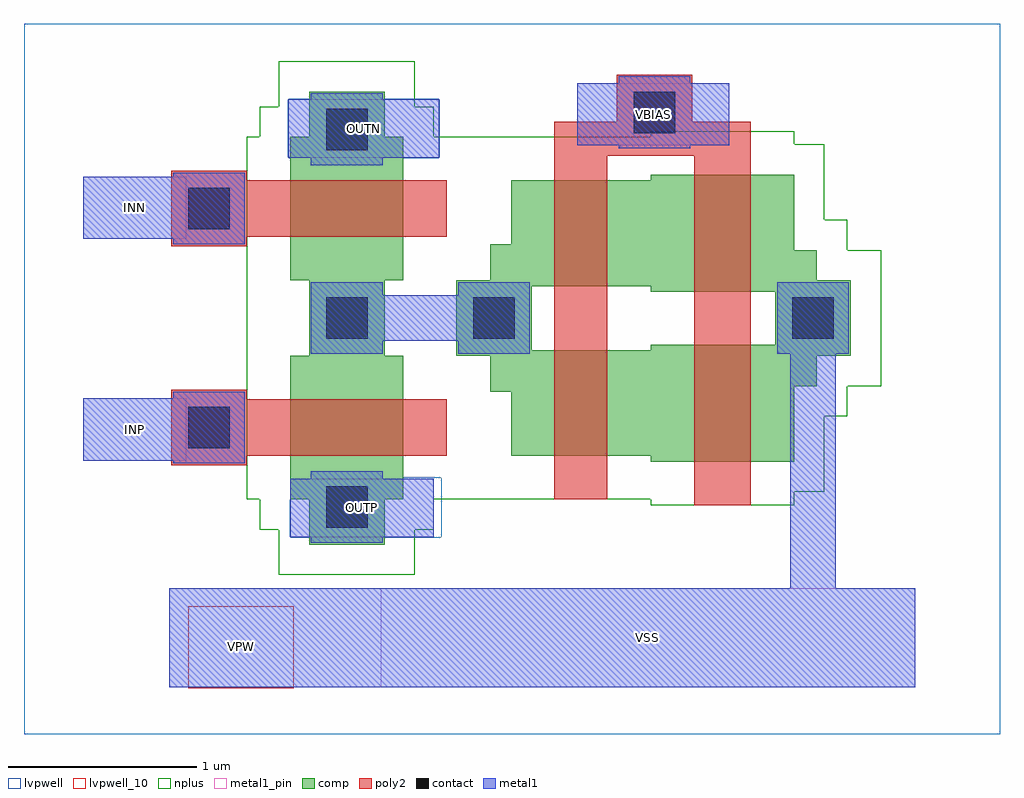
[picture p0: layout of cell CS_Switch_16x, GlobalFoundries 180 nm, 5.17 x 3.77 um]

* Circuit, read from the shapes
.subckt CS_Switch_16x INN INP OUTN OUTP VBIAS VSS
XM1 n1 INP OUTP VSUBS nfet_03v3 w=0.6u l=0.3u
XM2 OUTN INN n1 VSUBS nfet_03v3 w=0.6u l=0.3u
XM3 n2 VBIAS n1 VSUBS nfet_03v3 w=0.56u l=0.28u
XM4 n3 VBIAS n1 VSUBS nfet_03v3 w=0.56u l=0.28u
XM5 VSS VBIAS n2 VSUBS nfet_03v3 w=0.62u l=0.3u
XM6 VSS VBIAS n3 VSUBS nfet_03v3 w=0.62u l=0.3u
.ends

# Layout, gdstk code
import gdstk
lib = gdstk.Library(unit=1e-6, precision=1e-09)
def R(c, l, rs):  # rectangles x0, y0, x1, y1
    for r in rs: c.add(gdstk.rectangle(r[:2], r[2:], *l))
def A(c, l, x, y, w, h, nx, ny, dx, dy):  # array of equal rectangles
    R(c, l, [(x+i*dx, y+j*dy, x+i*dx+w, y+j*dy+h) for i in range(nx) for j in range(ny)])
comp = (22, 0)
poly2 = (30, 0)
nplus = (32, 0)
contact = (33, 0)
metal1 = (34, 0)
metal1_pin = (34, 10)
lvpwell = (204, 0)
lvpwell_10 = (204, 10)

cs_switch_16x = lib.new_cell('CS_Switch_16x')
R(cs_switch_16x, comp, [(6.62,-1.43,7.02,-1.19), (6.52,-1.19,7.12,-0.43), (8.43,-0.99,9.19,-0.96), (7.69,-0.96,9.19,-0.62), (7.58,-0.62,9.19,-0.59), (7.58,-0.59,9.31,-0.43), (6.62,-0.43,7.02,-0.03), (7.4,-0.43,9.49,-0.4), (7.4,-0.4,7.8,-0.06), (8.43,-0.4,9.49,-0.37), (9.09,-0.37,9.49,-0.09), (8.43,-0.09,9.49,-0.06), (7.4,-0.06,9.49,-0.03), (6.52,-0.03,7.12,0.73), (7.58,-0.03,9.31,0.13), (7.58,0.13,9.19,0.16), (7.69,0.16,9.19,0.5), (8.43,0.5,9.19,0.53), (6.62,0.73,7.02,0.97)])
R(cs_switch_16x, poly2, [(8.66,-1.22,8.96,0.63), (7.92,-1.19,8.2,0.63), (5.89,-1.01,6.29,-0.96), (5.89,-0.96,7.35,-0.66), (5.89,-0.66,6.29,-0.61), (5.89,0.15,6.29,0.2), (5.89,0.2,7.35,0.5), (5.89,0.5,6.29,0.55), (7.92,0.63,8.96,0.81), (8.25,0.81,8.65,1.06)])
R(cs_switch_16x, nplus, [(6.46,-1.59,7.18,-1.35), (6.36,-1.35,7.28,-1.19), (8.43,-1.22,9.19,-1.19), (6.29,-1.19,9.19,-1.15), (6.29,-1.15,9.35,-0.75), (6.29,-0.75,9.47,-0.59), (6.29,-0.59,9.65,0.13), (6.29,0.13,9.47,0.29), (6.29,0.29,9.35,0.69), (6.29,0.69,9.19,0.73), (6.36,0.73,7.28,0.89), (8.43,0.73,9.19,0.76), (6.46,0.89,7.18,1.13)])
A(cs_switch_16x, contact, 6.71, -1.34, 0.22, 0.22, 1, 3, 0, 1)
R(cs_switch_16x, contact, [(5.98,-0.92,6.2,-0.7), (7.49,-0.34,7.71,-0.12), (9.18,-0.34,9.4,-0.12), (5.98,0.24,6.2,0.46), (8.34,0.75,8.56,0.97)])
R(cs_switch_16x, metal1, [(5.88,-2.185,9.83,-1.66), (9.17,-1.66,9.41,-0.42), (6.63,-1.42,7.01,-1.39), (6.52,-1.39,7.28,-1.08), (6.63,-1.08,7.01,-1.04), (5.9,-1,6.28,-0.985), (5.425,-0.985,6.28,-0.655), (5.9,-0.655,6.28,-0.62), (6.63,-0.42,7.01,-0.35), (7.41,-0.42,7.79,-0.35), (9.1,-0.42,9.48,-0.04), (6.63,-0.35,7.79,-0.11), (6.63,-0.11,7.01,-0.04), (7.41,-0.11,7.79,-0.04), (5.9,0.16,6.28,0.19), (5.425,0.19,6.28,0.52), (5.9,0.52,6.28,0.54), (6.63,0.58,7.01,0.62), (6.51,0.62,7.31,0.93), (8.26,0.67,8.64,0.685), (8.04,0.685,8.845,1.015), (6.63,0.93,7.01,0.96), (8.26,1.015,8.64,1.05)])
R(cs_switch_16x, metal1_pin, [(7,-2.185,9.83,-1.66), (6.52,-1.39,7.28,-1.08), (5.425,-0.985,5.97,-0.655), (5.425,0.19,5.97,0.52), (6.51,0.62,7.31,0.93), (8.04,0.685,8.845,1.015)])
R(cs_switch_16x, lvpwell, [(5.11,-2.435,10.28,-1.39), (5.11,-1.39,6.52,-1.19), (6.62,-1.39,7.02,-1.19), (7.32,-1.39,10.28,-1.075), (5.11,-1.19,7.12,-1.075), (5.11,-1.075,10.28,0.62), (5.11,0.62,6.51,0.93), (6.52,0.62,7.12,0.73), (7.31,0.62,10.28,0.93), (6.62,0.73,7.02,0.93), (5.11,0.93,10.28,1.33)])
R(cs_switch_16x, lvpwell_10, [(5.98,-2.19,6.54,-1.755)])
cs_switch_16x.add(gdstk.Label('INP', (5.697,-0.82), layer=34, texttype=10))
cs_switch_16x.add(gdstk.Label('INN', (5.697,0.355), layer=34, texttype=10))
cs_switch_16x.add(gdstk.Label('OUTP', (6.9,-1.235), layer=34, texttype=10))
cs_switch_16x.add(gdstk.Label('OUTN', (6.91,0.775), layer=34, texttype=10))
cs_switch_16x.add(gdstk.Label('VBIAS', (8.442,0.85), layer=34, texttype=10))
cs_switch_16x.add(gdstk.Label('VSS', (8.415,-1.922), layer=34, texttype=10))
cs_switch_16x.add(gdstk.Label('VPW', (6.26,-1.972), layer=204, texttype=10))

lib.write_gds('CS_Switch_16x.gds')
